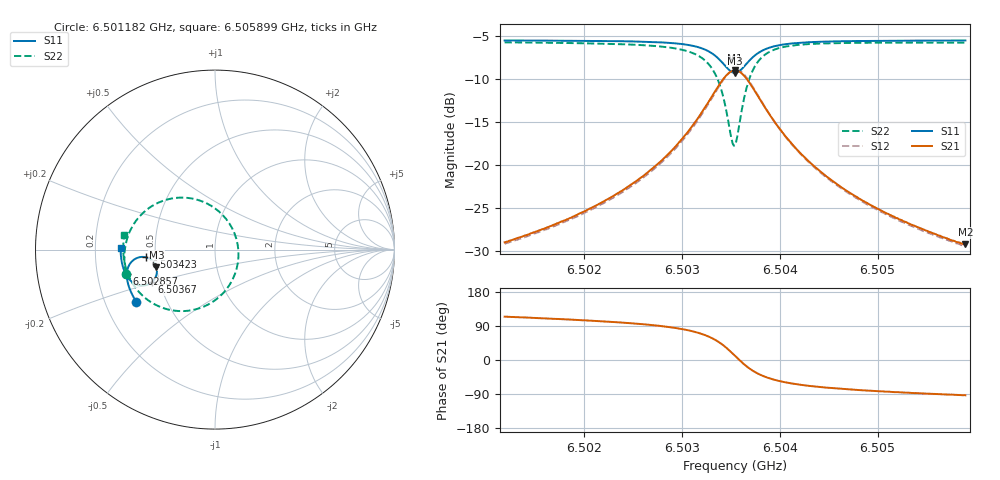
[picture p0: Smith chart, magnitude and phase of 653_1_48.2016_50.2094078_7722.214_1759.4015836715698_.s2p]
#  HZ  S  RI  R  50.00
! Rohde & Schwarz Vector Network Analyzer
! Rohde-Schwarz,ZNB20-2Port,1311601062101988,3.16
! Created: UTC 3/20/2024, 12:05:18 PM
! freq[Hz]  re:S11  im:S11  re:S21  im:S21  re:S12  im:S12  re:S22  im:S22
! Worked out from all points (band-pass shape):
!   401 points, 6.501182 GHz to 6.505899 GHz, reference 50 ohm
!   highest |S21| = -9.04 dB at 6.503541 GHz (marker M1); lowest = -29.2 dB at 6.505899 GHz (marker M2)
!   |S21| within 3 dB of the highest: 6.503306 GHz to 6.503777 GHz (471.2 kHz wide, 0.00725 % of centre)
!   lowest |S11| = -9.3 dB at 6.503541 GHz (marker M3), VSWR 2.04, Z = 25 - j5.52 ohm
!   |S11| at or under -10 dB: nowhere
!   |S22| runs from -17.8 to -5.8 dB; largest |S21 - S12| = 0.013
!   S11 on the Smith chart (normalised r, x): 6.501182 GHz: 0.34, -0.27; 6.502857 GHz: 0.33, -0.12; 6.503423 GHz: 0.45, -0.05; 6.50367 GHz: 0.46, -0.19; 6.505899 GHz: 0.31, +0.01
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6.5011822e9  -0.4374 -0.2929  -0.0147 0.0325  -0.0128 0.0325  -0.4954 -0.1346
6.5019723e9  -0.4696 -0.2325  -0.0138 0.0513  -0.0111 0.0507  -0.5051 -0.0469
6.5024086e9  -0.4841 -0.1922  -0.0102 0.0718  -0.00705 0.0706  -0.4997 0.0189
6.5027624e9  -0.4912 -0.151  -0.000335 0.103  0.00369 0.1003  -0.4773 0.0951
6.5028567e9  -0.4914 -0.1375  0.00545 0.1155  0.00967 0.1123  -0.4643 0.122
6.5030572e9  -0.4855 -0.1029  0.0303 0.1522  0.0346 0.1474  -0.4125 0.193
6.5031987e9  -0.469 -0.0724  0.0722 0.1872  0.0752 0.181  -0.3323 0.2532
6.5033284e9  -0.4312 -0.0455  0.1524 0.2138  0.1535 0.2069  -0.1863 0.2897
6.5034228e9  -0.3827 -0.0434  0.2474 0.1962  0.2479 0.1908  -0.0217 0.2443
6.5035053e9  -0.3381 -0.0744  0.3287 0.1181  0.3316 0.1131  0.1086 0.0903
6.5035407e9  -0.3268 -0.0977  0.3468 0.0673  0.3511 0.0609  0.1302 -0.00552
6.5035643e9  -0.3237 -0.1147  0.3503 0.0311  0.3549 0.0232  0.1276 -0.0722
6.5035997e9  -0.3262 -0.1401  0.3423 -0.0213  0.3464 -0.0315  0.0987 -0.1651
6.5036704e9  -0.3495 -0.1789  0.2931 -0.1007  0.2932 -0.1138  -0.017 -0.294
6.5037176e9  -0.371 -0.1932  0.2514 -0.1303  0.2482 -0.1433  -0.1051 -0.3321
6.5037766e9  -0.3971 -0.2001  0.2022 -0.1475  0.1963 -0.1585  -0.2018 -0.3423
6.5039299e9  -0.4461 -0.1908  0.1148 -0.1428  0.1068 -0.1486  -0.3592 -0.2911
6.5040949e9  -0.4747 -0.1693  0.0676 -0.1206  0.0604 -0.1233  -0.4355 -0.2221
6.5043308e9  -0.4959 -0.1394  0.0358 -0.0941  0.0304 -0.0948  -0.4813 -0.1467
6.5046846e9  -0.5116 -0.1009  0.0158 -0.0691  0.0121 -0.0688  -0.5045 -0.0699
6.5051209e9  -0.5209 -0.0595  0.00565 -0.0513  0.00298 -0.0506  -0.5114 -0.00409
6.5058992e9  -0.5262 0.0075  -0.00193 -0.0346  -0.0035 -0.0337  -0.5047 0.0821
